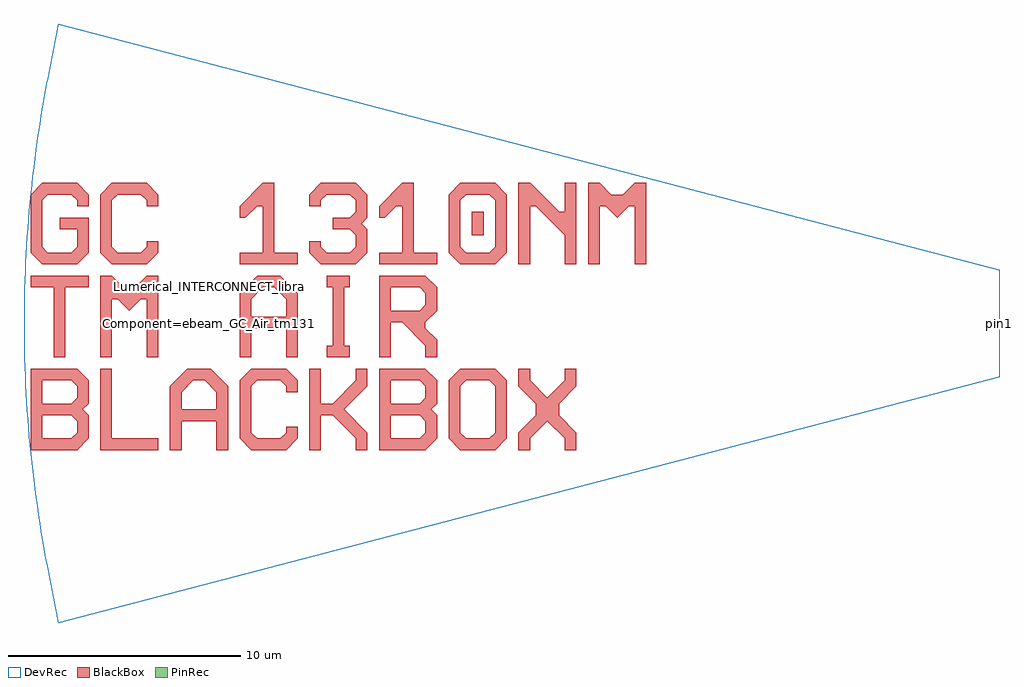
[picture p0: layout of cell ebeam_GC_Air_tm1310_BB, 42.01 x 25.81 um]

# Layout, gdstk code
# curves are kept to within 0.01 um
import gdstk
lib = gdstk.Library(unit=1e-6, precision=1e-09)
def R(c, l, rs):  # rectangles x0, y0, x1, y1
    for r in rs: c.add(gdstk.rectangle(r[:2], r[2:], *l))
def P(c, l, *ps):  # polygons
    for p in ps: c.add(gdstk.Polygon(p, *l))
PinRec = (1, 10)
DevRec = (68, 0)
BlackBox = (998, 0)

ebeam_gc_air_tm1310_bb = lib.new_cell('ebeam_GC_Air_tm1310_BB')
P(ebeam_gc_air_tm1310_bb, DevRec, [(-40.529,-12.904),(-41.007,-10.457),(-41.209,-9.338),(-41.442,-7.85),(-41.635,-6.364),(-41.787,-4.868),(-41.899,-3.367),(-41.97,-1.875),(-42.002,0),(-41.97,1.864),(-41.899,3.367),(-41.788,4.858),(-41.637,6.347),(-41.444,7.839),(-41.211,9.328),(-41.012,10.431),(-40.529,12.904),(0,2.317),(0,-2.317)])
R(ebeam_gc_air_tm1310_bb, BlackBox, [(-22.72,3.8,-22.22,4.8)])
P(ebeam_gc_air_tm1310_bb, BlackBox, [(-41.22,2.55),(-41.72,3.05),(-41.72,5.55),(-41.22,6.05),(-39.72,6.05),(-39.22,5.55),(-39.22,5.05),(-39.72,5.05),(-39.72,5.3),(-39.97,5.55),(-40.97,5.55),(-41.22,5.3),(-41.22,3.3),(-40.97,3.05),(-39.97,3.05),(-39.72,3.3),(-39.72,4.05),(-40.47,4.05),(-40.47,4.55),(-39.22,4.55),(-39.22,3.05),(-39.72,2.55)],
  [(-38.22,2.55),(-38.72,3.05),(-38.72,5.55),(-38.22,6.05),(-36.72,6.05),(-36.22,5.55),(-36.22,5.05),(-36.72,5.05),(-36.72,5.3),(-36.97,5.55),(-37.97,5.55),(-38.22,5.3),(-38.22,3.3),(-37.97,3.05),(-36.97,3.05),(-36.72,3.3),(-36.72,3.55),(-36.22,3.55),(-36.22,3.05),(-36.72,2.55)],
  [(-32.72,2.55),(-32.72,3.05),(-31.72,3.05),(-31.72,5.05),(-31.97,5.05),(-32.47,4.55),(-32.72,4.55),(-32.72,5.05),(-31.72,6.05),(-31.22,6.05),(-31.22,3.05),(-30.22,3.05),(-30.22,2.55)],
  [(-29.22,2.55),(-29.72,3.05),(-29.72,3.55),(-29.22,3.55),(-29.22,3.3),(-28.97,3.05),(-27.97,3.05),(-27.72,3.3),(-27.72,3.8),(-27.97,4.05),(-28.72,4.05),(-28.72,4.55),(-27.97,4.55),(-27.72,4.8),(-27.72,5.3),(-27.97,5.55),(-28.97,5.55),(-29.22,5.3),(-29.22,5.05),(-29.72,5.05),(-29.72,5.55),(-29.22,6.05),(-27.72,6.05),(-27.22,5.55),(-27.22,4.55),(-27.47,4.3),(-27.22,4.05),(-27.22,3.05),(-27.72,2.55)],
  [(-26.72,2.55),(-26.72,3.05),(-25.72,3.05),(-25.72,5.05),(-25.97,5.05),(-26.47,4.55),(-26.72,4.55),(-26.72,5.05),(-25.72,6.05),(-25.22,6.05),(-25.22,3.05),(-24.22,3.05),(-24.22,2.55)],
  [(-23.22,2.55),(-23.72,3.05),(-23.72,5.55),(-23.22,6.05),(-21.72,6.05),(-21.22,5.55),(-22.97,5.55),(-23.22,5.3),(-23.22,3.3),(-22.97,3.05),(-21.97,3.05),(-21.72,3.3),(-21.72,5.3),(-21.97,5.55),(-21.22,5.55),(-21.22,3.05),(-21.72,2.55)],
  [(-20.72,2.55),(-20.72,6.05),(-20.22,6.05),(-18.97,4.8),(-18.72,4.8),(-18.72,6.05),(-18.22,6.05),(-18.22,2.55),(-18.72,2.55),(-18.72,3.8),(-19.97,5.05),(-20.22,5.05),(-20.22,2.55)],
  [(-17.72,2.55),(-17.72,6.05),(-17.22,6.05),(-16.72,5.55),(-16.22,5.55),(-15.72,6.05),(-15.22,6.05),(-15.22,2.55),(-15.72,2.55),(-15.72,5.05),(-15.97,5.05),(-16.47,4.55),(-16.97,5.05),(-17.22,5.05),(-17.22,2.55)],
  [(-40.72,-1.45),(-40.72,1.55),(-41.72,1.55),(-41.72,2.05),(-39.22,2.05),(-39.22,1.55),(-40.22,1.55),(-40.22,-1.45)],
  [(-38.72,-1.45),(-38.72,2.05),(-38.22,2.05),(-37.72,1.55),(-37.22,1.55),(-36.72,2.05),(-36.22,2.05),(-36.22,-1.45),(-36.72,-1.45),(-36.72,1.05),(-36.97,1.05),(-37.47,0.55),(-37.97,1.05),(-38.22,1.05),(-38.22,-1.45)],
  [(-32.72,-1.45),(-32.72,1.3),(-31.97,2.05),(-30.97,2.05),(-30.47,1.55),(-31.72,1.55),(-32.22,1.05),(-32.22,0.3),(-30.72,0.3),(-30.72,1.05),(-31.22,1.55),(-30.47,1.55),(-30.22,1.3),(-30.22,-1.45),(-30.72,-1.45),(-30.72,-0.2),(-32.22,-0.2),(-32.22,-1.45)],
  [(-28.97,-1.45),(-28.97,-0.95),(-28.72,-0.95),(-28.72,1.55),(-28.97,1.55),(-28.97,2.05),(-27.97,2.05),(-27.97,1.55),(-28.22,1.55),(-28.22,-0.95),(-27.97,-0.95),(-27.97,-1.45)],
  [(-26.72,-1.45),(-26.72,2.05),(-24.72,2.05),(-24.22,1.55),(-26.22,1.55),(-26.22,0.55),(-24.97,0.55),(-24.72,0.8),(-24.72,1.3),(-24.97,1.55),(-24.22,1.55),(-24.22,0.55),(-24.72,0.05),(-24.72,-0.2),(-24.22,-0.7),(-24.22,-1.45),(-24.72,-1.45),(-24.72,-0.95),(-25.72,0.05),(-26.22,0.05),(-26.22,-1.45)],
  [(-41.72,-5.45),(-41.72,-1.95),(-39.72,-1.95),(-39.22,-2.45),(-41.22,-2.45),(-41.22,-3.45),(-39.97,-3.45),(-39.72,-3.2),(-39.72,-2.7),(-39.97,-2.45),(-39.22,-2.45),(-39.22,-3.45),(-39.47,-3.7),(-39.22,-3.95),(-41.22,-3.95),(-41.22,-4.95),(-39.97,-4.95),(-39.72,-4.7),(-39.72,-4.2),(-39.97,-3.95),(-39.22,-3.95),(-39.22,-4.95),(-39.72,-5.45)],
  [(-38.72,-5.45),(-38.72,-1.95),(-38.22,-1.95),(-38.22,-4.95),(-36.22,-4.95),(-36.22,-5.45)],
  [(-35.72,-5.45),(-35.72,-2.7),(-34.97,-1.95),(-33.97,-1.95),(-33.47,-2.45),(-34.72,-2.45),(-35.22,-2.95),(-35.22,-3.7),(-33.72,-3.7),(-33.72,-2.95),(-34.22,-2.45),(-33.47,-2.45),(-33.22,-2.7),(-33.22,-5.45),(-33.72,-5.45),(-33.72,-4.2),(-35.22,-4.2),(-35.22,-5.45)],
  [(-32.22,-5.45),(-32.72,-4.95),(-32.72,-2.45),(-32.22,-1.95),(-30.72,-1.95),(-30.22,-2.45),(-30.22,-2.95),(-30.72,-2.95),(-30.72,-2.7),(-30.97,-2.45),(-31.97,-2.45),(-32.22,-2.7),(-32.22,-4.7),(-31.97,-4.95),(-30.97,-4.95),(-30.72,-4.7),(-30.72,-4.45),(-30.22,-4.45),(-30.22,-4.95),(-30.72,-5.45)],
  [(-29.72,-5.45),(-29.72,-1.95),(-29.22,-1.95),(-29.22,-3.45),(-28.72,-3.45),(-27.72,-2.45),(-27.72,-1.95),(-27.22,-1.95),(-27.22,-2.7),(-28.22,-3.7),(-27.22,-4.7),(-27.22,-5.45),(-27.72,-5.45),(-27.72,-4.95),(-28.72,-3.95),(-29.22,-3.95),(-29.22,-5.45)],
  [(-26.72,-5.45),(-26.72,-1.95),(-24.72,-1.95),(-24.22,-2.45),(-26.22,-2.45),(-26.22,-3.45),(-24.97,-3.45),(-24.72,-3.2),(-24.72,-2.7),(-24.97,-2.45),(-24.22,-2.45),(-24.22,-3.45),(-24.47,-3.7),(-24.22,-3.95),(-26.22,-3.95),(-26.22,-4.95),(-24.97,-4.95),(-24.72,-4.7),(-24.72,-4.2),(-24.97,-3.95),(-24.22,-3.95),(-24.22,-4.95),(-24.72,-5.45)],
  [(-23.22,-5.45),(-23.72,-4.95),(-23.72,-2.45),(-23.22,-1.95),(-21.72,-1.95),(-21.22,-2.45),(-21.22,-3.7),(-21.72,-3.7),(-21.72,-2.7),(-21.97,-2.45),(-22.97,-2.45),(-23.22,-2.7),(-23.22,-4.7),(-22.97,-4.95),(-21.97,-4.95),(-21.72,-4.7),(-21.72,-3.7),(-21.22,-3.7),(-21.22,-4.95),(-21.72,-5.45)],
  [(-20.72,-5.45),(-20.72,-4.7),(-19.97,-3.95),(-19.97,-3.45),(-20.72,-2.7),(-20.72,-1.95),(-20.22,-1.95),(-20.22,-2.45),(-19.47,-3.2),(-18.72,-2.45),(-18.72,-1.95),(-18.22,-1.95),(-18.22,-2.7),(-18.97,-3.45),(-18.97,-3.95),(-18.22,-4.7),(-18.22,-5.45),(-18.72,-5.45),(-18.72,-4.95),(-19.47,-4.2),(-20.22,-4.95),(-20.22,-5.45)])
ebeam_gc_air_tm1310_bb.add(gdstk.FlexPath([(-0.01,0),(0.01,0)], 0.35, ends="flush", simple_path=True, layer=1, datatype=10))  # PinRec
ebeam_gc_air_tm1310_bb.add(gdstk.Label('pin1', (0,0), layer=1, texttype=10))
ebeam_gc_air_tm1310_bb.add(gdstk.Label('Component=ebeam_GC_Air_tm1310_BB', (-34.01,0), layer=68, texttype=0))
ebeam_gc_air_tm1310_bb.add(gdstk.Label('Lumerical_INTERCONNECT_library=Design kits/ebeam', (-34.01,1.61), layer=68, texttype=0))

lib.write_gds('ebeam_GC_Air_tm1310_BB.gds')
